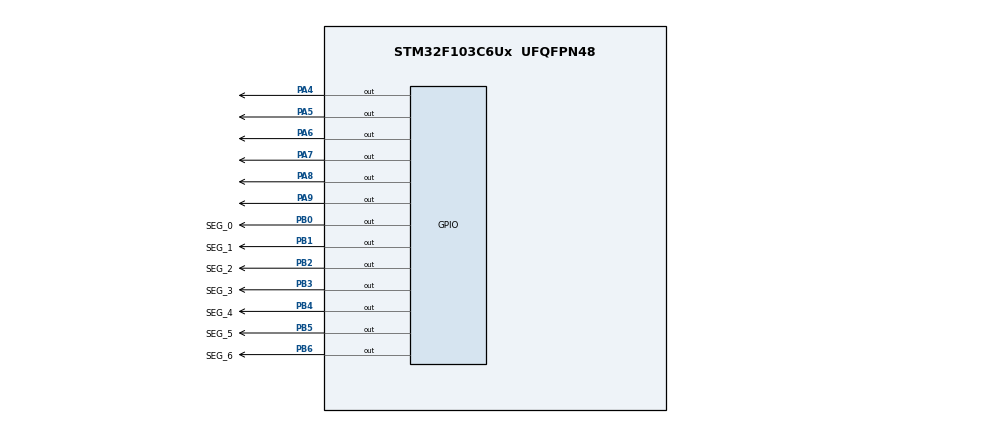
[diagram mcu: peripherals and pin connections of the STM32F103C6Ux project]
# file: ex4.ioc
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Mcu.Family=STM32F1
Mcu.Name=STM32F103C6Ux
Mcu.Package=UFQFPN48
NVIC.PriorityGroup=NVIC_PRIORITYGROUP_4
NVIC.TIM2_IRQn=true\:0\:0\:false\:false\:true\:true\:true
PA4.Signal=GPIO_Output
PA5.Signal=GPIO_Output
PA6.Signal=GPIO_Output
PA7.Signal=GPIO_Output
PA8.Signal=GPIO_Output
PA9.Signal=GPIO_Output
PB0.GPIO_Label=SEG_0
PB0.Signal=GPIO_Output
PB1.GPIO_Label=SEG_1
PB1.Signal=GPIO_Output
PB2.GPIO_Label=SEG_2
PB2.Signal=GPIO_Output
PB3.GPIO_Label=SEG_3
PB3.Signal=GPIO_Output
PB4.GPIO_Label=SEG_4
PB4.Signal=GPIO_Output
PB5.GPIO_Label=SEG_5
PB5.Signal=GPIO_Output
PB6.GPIO_Label=SEG_6
PB6.Signal=GPIO_Output
ProjectManager.HeapSize=0x200
ProjectManager.StackSize=0x400
ProjectManager.TargetToolchain=STM32CubeIDE
RCC.APB1Freq_Value=8000000
RCC.APB2Freq_Value=8000000
TIM2.Period=9
TIM2.Prescaler=7999
VP_SYS_VS_ND.Mode=No_Debug
VP_TIM2_VS_ClockSourceINT.Mode=Internal
board=custom

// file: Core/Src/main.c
/* USER CODE BEGIN Header */
/**
  ******************************************************************************
  * @file           : main.c
  * @brief          : Main program body
  ******************************************************************************
  * @attention
  *
  * <h2><center>&copy; Copyright (c) 2026 STMicroelectronics.
  * All rights reserved.</center></h2>
  *
  * This software component is licensed by ST under BSD 3-Clause license,
  * the "License"; You may not use this file except in compliance with the
  * License. You may obtain a copy of the License at:
  *                        opensource.org/licenses/BSD-3-Clause
  *
  ******************************************************************************
  */
/* USER CODE END Header */
#include "main.h"

/* USER CODE BEGIN PV */
TIM_HandleTypeDef htim2;
/* USER CODE END PV */

void SystemClock_Config(void);
static void MX_GPIO_Init(void);
/* USER CODE BEGIN PFP */
static void MX_TIM2_Init(void);
/* USER CODE END PFP */

const uint8_t led7seg[10] = {0x40, 0x79, 0x24, 0x30, 0x19, 0x12, 0x02, 0x78, 0x00, 0x10};

void display7SEG(int num) {
    if (num < 0 || num > 9) return;
    uint8_t display_code = led7seg[num];

    HAL_GPIO_WritePin(GPIOB, GPIO_PIN_0, (display_code >> 0) & 0x01);
    HAL_GPIO_WritePin(GPIOB, GPIO_PIN_1, (display_code >> 1) & 0x01);
    HAL_GPIO_WritePin(GPIOB, GPIO_PIN_2, (display_code >> 2) & 0x01);
    HAL_GPIO_WritePin(GPIOB, GPIO_PIN_3, (display_code >> 3) & 0x01);
    HAL_GPIO_WritePin(GPIOB, GPIO_PIN_4, (display_code >> 4) & 0x01);
    HAL_GPIO_WritePin(GPIOB, GPIO_PIN_5, (display_code >> 5) & 0x01);
    HAL_GPIO_WritePin(GPIOB, GPIO_PIN_6, (display_code >> 6) & 0x01);
}

const int MAX_LED = 4;
int index_led = 0;
int led_buffer[4] = {1, 2, 3, 4};

void update7SEG(int index) {
    HAL_GPIO_WritePin(GPIOA, GPIO_PIN_6 | GPIO_PIN_7 | GPIO_PIN_8 | GPIO_PIN_9, GPIO_PIN_SET);

    display7SEG(led_buffer[index]);

    switch (index) {
        case 0:
            HAL_GPIO_WritePin(GPIOA, GPIO_PIN_6, GPIO_PIN_RESET);
            break;
        case 1:
            HAL_GPIO_WritePin(GPIOA, GPIO_PIN_7, GPIO_PIN_RESET);
            break;
        case 2:
            HAL_GPIO_WritePin(GPIOA, GPIO_PIN_8, GPIO_PIN_RESET);
            break;
        case 3:
            HAL_GPIO_WritePin(GPIOA, GPIO_PIN_9, GPIO_PIN_RESET);
            break;
        default:
            break;
    }
}
/* USER CODE END 0 */

int main(void)
{

  /* MCU Configuration--------------------------------------------------------*/

  /* Reset of all peripherals, Initializes the Flash interface and the Systick. */
  HAL_Init();

  /* Configure the system clock */
  SystemClock_Config();

  /* Initialize all configured peripherals */
  MX_GPIO_Init();
  /* USER CODE BEGIN 2 */
  MX_TIM2_Init();
  HAL_TIM_Base_Start_IT(&htim2);
  /* USER CODE END 2 */

  /* Infinite loop */
  while (1)
  {

  }
}

void SystemClock_Config(void)
{
  RCC_OscInitTypeDef RCC_OscInitStruct = {0};
  RCC_ClkInitTypeDef RCC_ClkInitStruct = {0};

  /** Initializes the RCC Oscillators according to the specified parameters
  * in the RCC_OscInitTypeDef structure.
  */
  RCC_OscInitStruct.OscillatorType = RCC_OSCILLATORTYPE_HSI;
  RCC_OscInitStruct.HSIState = RCC_HSI_ON;
  RCC_OscInitStruct.HSICalibrationValue = RCC_HSICALIBRATION_DEFAULT;
  RCC_OscInitStruct.PLL.PLLState = RCC_PLL_NONE;
  if (HAL_RCC_OscConfig(&RCC_OscInitStruct) != HAL_OK)
  {
    Error_Handler();
  }
  /** Initializes the CPU, AHB and APB buses clocks
  */
  RCC_ClkInitStruct.ClockType = RCC_CLOCKTYPE_HCLK|RCC_CLOCKTYPE_SYSCLK
                              |RCC_CLOCKTYPE_PCLK1|RCC_CLOCKTYPE_PCLK2;
  RCC_ClkInitStruct.SYSCLKSource = RCC_SYSCLKSOURCE_HSI;
  RCC_ClkInitStruct.AHBCLKDivider = RCC_SYSCLK_DIV1;
  RCC_ClkInitStruct.APB1CLKDivider = RCC_HCLK_DIV1;
  RCC_ClkInitStruct.APB2CLKDivider = RCC_HCLK_DIV1;

  if (HAL_RCC_ClockConfig(&RCC_ClkInitStruct, FLASH_LATENCY_0) != HAL_OK)
  {
    Error_Handler();
  }
}

static void MX_GPIO_Init(void)
{
  GPIO_InitTypeDef GPIO_InitStruct = {0};

  /* GPIO Ports Clock Enable */
  __HAL_RCC_GPIOA_CLK_ENABLE();
  __HAL_RCC_GPIOB_CLK_ENABLE();

  /*Configure GPIO pin Output Level */
  HAL_GPIO_WritePin(GPIOA, GPIO_PIN_4|GPIO_PIN_5|GPIO_PIN_6|GPIO_PIN_7
                          |GPIO_PIN_8|GPIO_PIN_9, GPIO_PIN_RESET);

  /*Configure GPIO pin Output Level */
  HAL_GPIO_WritePin(GPIOB, SEG_0_Pin|SEG_1_Pin|SEG_2_Pin|SEG_3_Pin
                          |SEG_4_Pin|SEG_5_Pin|SEG_6_Pin, GPIO_PIN_RESET);

  /*Configure GPIO pins : PA4 PA5 PA6 PA7
                           PA8 PA9 */
  GPIO_InitStruct.Pin = GPIO_PIN_4|GPIO_PIN_5|GPIO_PIN_6|GPIO_PIN_7
                          |GPIO_PIN_8|GPIO_PIN_9;
  GPIO_InitStruct.Mode = GPIO_MODE_OUTPUT_PP;
  GPIO_InitStruct.Pull = GPIO_NOPULL;
  GPIO_InitStruct.Speed = GPIO_SPEED_FREQ_LOW;
  HAL_GPIO_Init(GPIOA, &GPIO_InitStruct);

  /*Configure GPIO pins : SEG_0_Pin SEG_1_Pin SEG_2_Pin SEG_3_Pin
                           SEG_4_Pin SEG_5_Pin SEG_6_Pin */
  GPIO_InitStruct.Pin = SEG_0_Pin|SEG_1_Pin|SEG_2_Pin|SEG_3_Pin
                          |SEG_4_Pin|SEG_5_Pin|SEG_6_Pin;
  GPIO_InitStruct.Mode = GPIO_MODE_OUTPUT_PP;
  GPIO_InitStruct.Pull = GPIO_NOPULL;
  GPIO_InitStruct.Speed = GPIO_SPEED_FREQ_LOW;
  HAL_GPIO_Init(GPIOB, &GPIO_InitStruct);

}

/* USER CODE BEGIN 4 */

int counter_7seg = 25;
int counter_dot = 100;

void HAL_TIM_PeriodElapsedCallback(TIM_HandleTypeDef *htim)
{
    if (htim->Instance == TIM2) {

        counter_dot--;
        if (counter_dot <= 0) {
            counter_dot = 100;
            HAL_GPIO_TogglePin(GPIOA, GPIO_PIN_4);
        }

        counter_7seg--;
        if (counter_7seg <= 0) {
            counter_7seg = 25;

            update7SEG(index_led);

            index_led++;
            if (index_led >= MAX_LED) {
                index_led = 0;
            }
        }
    }
}
/* USER CODE END 4 */
static void MX_TIM2_Init(void)
{
  TIM_ClockConfigTypeDef sClockSourceConfig = {0};
  TIM_MasterConfigTypeDef sMasterConfig = {0};

  htim2.Instance = TIM2;
  htim2.Init.Prescaler = 7999;
  htim2.Init.CounterMode = TIM_COUNTERMODE_UP;
  htim2.Init.Period = 9;
  htim2.Init.ClockDivision = TIM_CLOCKDIVISION_DIV1;
  htim2.Init.AutoReloadPreload = TIM_AUTORELOAD_PRELOAD_DISABLE;
  if (HAL_TIM_Base_Init(&htim2) != HAL_OK)
  {
    Error_Handler();
  }
  sClockSourceConfig.ClockSource = TIM_CLOCKSOURCE_INTERNAL;
  if (HAL_TIM_ConfigClockSource(&htim2, &sClockSourceConfig) != HAL_OK)
  {
    Error_Handler();
  }
  sMasterConfig.MasterOutputTrigger = TIM_TRGO_RESET;
  sMasterConfig.MasterSlaveMode = TIM_MASTERSLAVEMODE_DISABLE;
  if (HAL_TIMEx_MasterConfigSynchronization(&htim2, &sMasterConfig) != HAL_OK)
  {
    Error_Handler();
  }
}
/* USER CODE END 4 */

void Error_Handler(void)
{
  __disable_irq();
  while (1)
  {
  }
}

/************************ (C) COPYRIGHT STMicroelectronics *****END OF FILE****/
